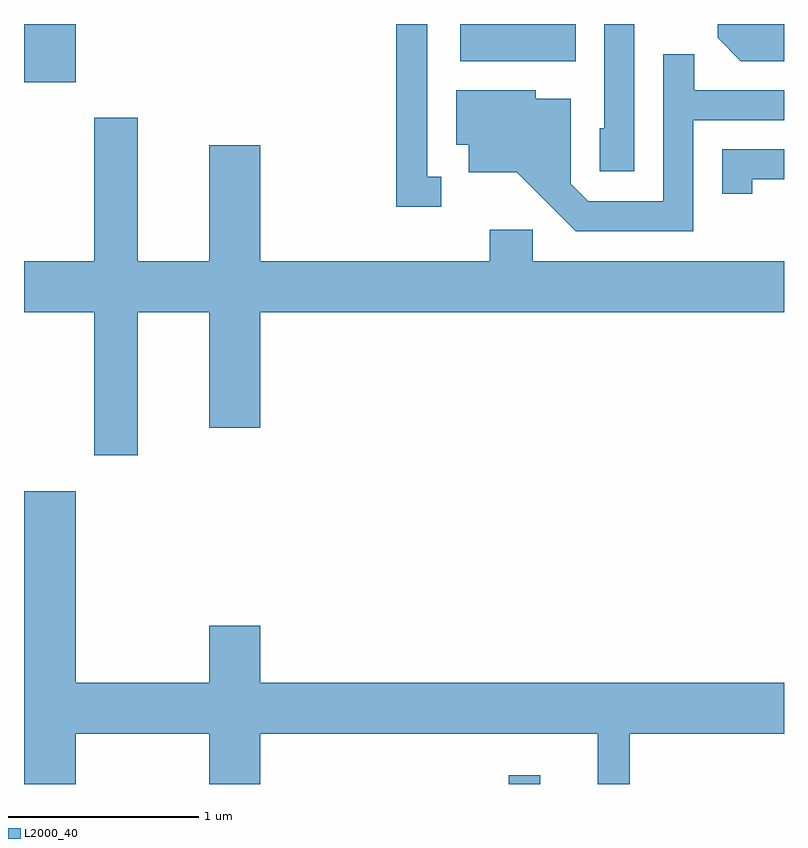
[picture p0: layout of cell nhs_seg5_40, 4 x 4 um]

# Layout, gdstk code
import gdstk
lib = gdstk.Library(unit=1e-6, precision=1e-09)
def R(c, l, rs):  # rectangles x0, y0, x1, y1
    for r in rs: c.add(gdstk.rectangle(r[:2], r[2:], *l))
def P(c, l, *ps):  # polygons
    for p in ps: c.add(gdstk.Polygon(p, *l))
L2000_40 = (2000, 40)

nhs_seg5_40 = lib.new_cell('nhs_seg5_40')
R(nhs_seg5_40, L2000_40, [(188.161,1472.072,188.329,1472.118), (185.611,1475.766,185.884,1476.072), (187.906,1475.876,188.514,1476.072)])
P(nhs_seg5_40, L2000_40, [(189.611,1476.072),(189.261,1476.072),(189.261,1475.999),(189.384,1475.876),(189.611,1475.876)],
  [(187.808,1475.269),(187.734,1475.269),(187.734,1476.072),(187.571,1476.072),(187.571,1475.111),(187.808,1475.111)],
  [(188.824,1476.072),(188.666,1476.072),(188.666,1475.524),(188.641,1475.524),(188.641,1475.296),(188.824,1475.296)],
  [(189.134,1475.566),(189.611,1475.566),(189.611,1475.724),(189.139,1475.724),(189.139,1475.913),(188.976,1475.913),(188.976,1475.139),(188.582,1475.139),(188.489,1475.232),(188.489,1475.679),(188.304,1475.679),(188.304,1475.724),(187.886,1475.724),(187.886,1475.436),(187.951,1475.436),(187.951,1475.291),(188.204,1475.291),(188.514,1474.981),(189.134,1474.981)],
  [(186.209,1474.556),(186.586,1474.556),(186.586,1473.946),(186.854,1473.946),(186.854,1474.556),(189.611,1474.556),(189.611,1474.824),(188.289,1474.824),(188.289,1474.989),(188.061,1474.989),(188.061,1474.824),(186.854,1474.824),(186.854,1475.434),(186.586,1475.434),(186.586,1474.824),(186.209,1474.824),(186.209,1475.579),(185.981,1475.579),(185.981,1474.824),(185.611,1474.824),(185.611,1474.556),(185.981,1474.556),(185.981,1473.801),(186.209,1473.801)],
  [(189.444,1475.256),(189.611,1475.256),(189.611,1475.414),(189.286,1475.414),(189.286,1475.178),(189.444,1475.178)],
  [(185.884,1472.336),(186.586,1472.336),(186.586,1472.072),(186.854,1472.072),(186.854,1472.336),(188.631,1472.336),(188.631,1472.072),(188.799,1472.072),(188.799,1472.336),(189.611,1472.336),(189.611,1472.604),(186.854,1472.604),(186.854,1472.904),(186.586,1472.904),(186.586,1472.604),(185.884,1472.604),(185.884,1473.614),(185.611,1473.614),(185.611,1472.072),(185.884,1472.072)])

lib.write_gds('nhs_seg5_40.gds')
